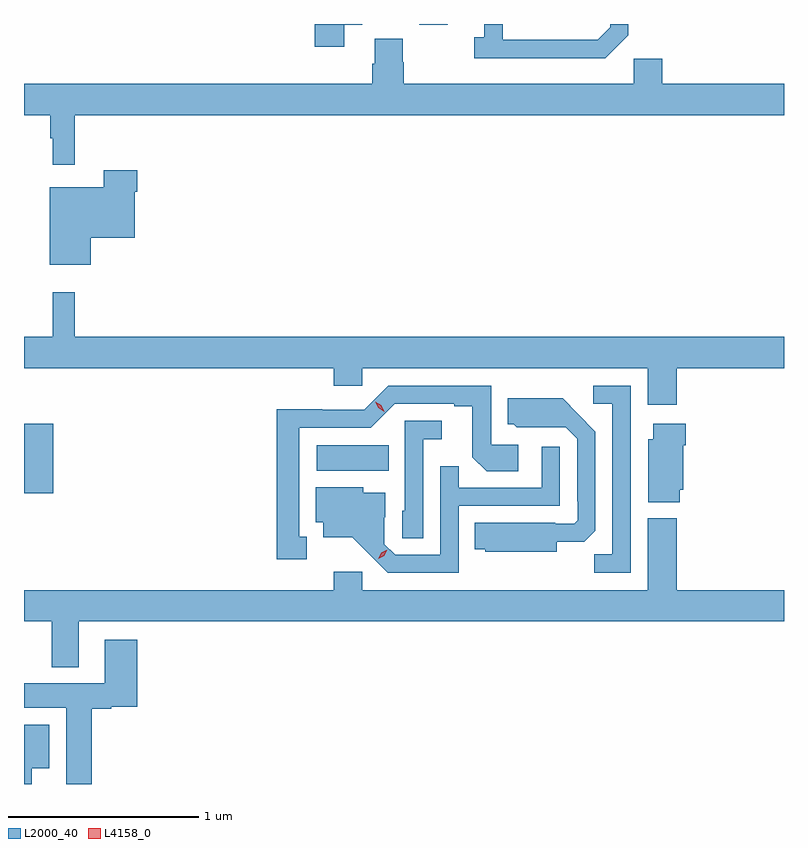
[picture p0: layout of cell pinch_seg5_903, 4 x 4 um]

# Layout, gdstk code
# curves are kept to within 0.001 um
import gdstk
lib = gdstk.Library(unit=1e-6, precision=1e-09)
def R(c, l, rs):  # rectangles x0, y0, x1, y1
    for r in rs: c.add(gdstk.rectangle(r[:2], r[2:], *l))
def P(c, l, *ps):  # polygons
    for p in ps: c.add(gdstk.Polygon(p, *l))
L2000_40 = (2000, 40)
L4158_0 = (4158, 0)

pinch_seg5_903 = lib.new_cell('pinch_seg5_903')
R(pinch_seg5_903, L2000_40, [(754.106,890.732,754.259,891.1), (755.646,890.852,756.026,890.986), (756.187,893.199,756.335,893.203)])
P(pinch_seg5_903, L2000_40, [(755.791,893.199),(755.887,893.199),(755.887,893.203),(755.635,893.203),(755.635,893.082),(755.791,893.082)],
  [(757.287,893.145),(757.287,893.203),(757.191,893.203),(757.191,893.187),(757.125,893.121),(756.625,893.121),(756.625,893.203),(756.528,893.203),(756.528,893.134),(756.477,893.134),(756.477,893.024),(757.166,893.024)],
  [(754.106,892.724),(754.245,892.724),(754.245,892.601),(754.256,892.601),(754.256,892.461),(754.373,892.461),(754.373,892.724),(758.106,892.724),(758.106,892.888),(757.466,892.888),(757.466,893.02),(757.314,893.02),(757.314,892.888),(756.104,892.888),(756.104,893.001),(756.099,893.001),(756.099,893.126),(755.951,893.126),(755.951,892.994),(755.939,892.994),(755.939,892.888),(754.106,892.888)],
  [(754.456,892.079),(754.69,892.079),(754.69,892.319),(754.703,892.319),(754.703,892.432),(754.525,892.432),(754.525,892.345),(754.241,892.345),(754.241,891.935),(754.456,891.935)],
  [(757.541,891.392),(758.106,891.392),(758.106,891.556),(754.373,891.556),(754.373,891.79),(754.256,891.79),(754.256,891.556),(754.106,891.556),(754.106,891.392),(755.735,891.392),(755.735,891.299),(755.886,891.299),(755.886,891.392),(757.388,891.392),(757.388,891.198),(757.541,891.198)],
  [(757.299,891.3),(757.101,891.3),(757.101,891.204),(757.203,891.204),(757.203,890.411),(757.108,890.411),(757.108,890.316),(757.299,890.316)],
  [(755.593,890.505),(755.554,890.505),(755.554,891.078),(755.931,891.078),(756.057,891.204),(756.371,891.204),(756.371,891.192),(756.465,891.192),(756.465,890.924),(756.541,890.848),(756.706,890.848),(756.706,890.988),(756.564,890.988),(756.564,891.3),(756.024,891.3),(755.898,891.174),(755.676,891.174),(755.676,891.176),(755.436,891.176),(755.436,890.385),(755.593,890.385)],
  [(756.91,890.477),(757.054,890.477),(757.113,890.536),(757.113,891.058),(756.941,891.232),(756.653,891.232),(756.653,891.096),(756.684,891.096),(756.7,891.08),(756.957,891.081),(757.017,891.021),(757.017,890.692),(757.02,890.692),(757.02,890.592),(757.002,890.574),(756.902,890.574),(756.902,890.578),(756.478,890.578),(756.478,890.438),(756.534,890.438),(756.534,890.426),(756.91,890.426)],
  [(756.207,891.017),(756.304,891.017),(756.304,891.114),(756.111,891.114),(756.111,890.64),(756.096,890.64),(756.096,890.497),(756.207,890.497)],
  [(757.558,890.751),(757.576,890.751),(757.576,890.987),(757.589,890.987),(757.589,891.1),(757.418,891.1),(757.418,891.018),(757.391,891.018),(757.391,890.687),(757.558,890.687)],
  [(756.393,890.667),(756.927,890.667),(756.927,890.977),(756.831,890.977),(756.831,890.763),(756.395,890.763),(756.395,890.876),(756.297,890.876),(756.297,890.409),(756.06,890.409),(756.003,890.466),(756.003,890.608),(756.007,890.608),(756.007,890.737),(755.892,890.737),(755.892,890.764),(755.642,890.764),(755.642,890.58),(755.681,890.58),(755.681,890.501),(755.833,890.501),(756.02,890.316),(756.393,890.316)],
  [(754.393,890.06),(758.106,890.06),(758.106,890.224),(757.541,890.224),(757.541,890.602),(757.388,890.602),(757.388,890.224),(755.886,890.224),(755.886,890.32),(755.735,890.32),(755.735,890.224),(754.106,890.224),(754.106,890.06),(754.253,890.06),(754.253,889.817),(754.393,889.817)],
  [(754.463,889.598),(754.566,889.598),(754.566,889.61),(754.703,889.61),(754.703,889.963),(754.532,889.963),(754.532,889.732),(754.106,889.732),(754.106,889.604),(754.328,889.604),(754.328,889.203),(754.463,889.203)],
  [(754.147,889.286),(754.24,889.286),(754.24,889.516),(754.106,889.516),(754.106,889.203),(754.147,889.203)])
P(pinch_seg5_903, L4158_0, [(756.002,891.162),(755.971,891.182),(755.954,891.215),(755.954,891.215),(755.954,891.215),(755.985,891.196),(756.002,891.163),(756.002,891.162)],
  [(755.97,890.389),(755.97,890.389),(755.987,890.419),(756.017,890.435),(756.018,890.435),(756.018,890.435),(756.001,890.405),(755.971,890.389)])

lib.write_gds('pinch_seg5_903.gds')
